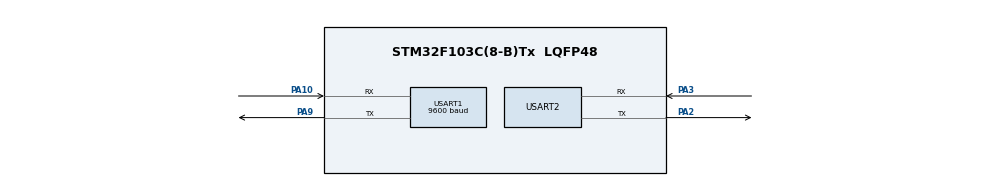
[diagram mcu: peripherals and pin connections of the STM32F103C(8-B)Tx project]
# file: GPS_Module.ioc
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Dma.Request0=USART1_RX
Dma.USART1_RX.0.Direction=DMA_PERIPH_TO_MEMORY
Dma.USART1_RX.0.Instance=DMA1_Channel5
Dma.USART1_RX.0.MemDataAlignment=DMA_MDATAALIGN_BYTE
Dma.USART1_RX.0.MemInc=DMA_MINC_ENABLE
Dma.USART1_RX.0.Mode=DMA_CIRCULAR
Dma.USART1_RX.0.PeriphDataAlignment=DMA_PDATAALIGN_BYTE
Dma.USART1_RX.0.PeriphInc=DMA_PINC_DISABLE
Dma.USART1_RX.0.Priority=DMA_PRIORITY_LOW
Mcu.Family=STM32F1
Mcu.Name=STM32F103C(8-B)Tx
Mcu.Package=LQFP48
NVIC.DMA1_Channel5_IRQn=true\:0\:0\:false\:false\:true\:false\:true\:true
NVIC.PriorityGroup=NVIC_PRIORITYGROUP_4
NVIC.USART1_IRQn=true\:0\:0\:false\:false\:true\:true\:true\:true
PA10.Mode=Asynchronous
PA10.Signal=USART1_RX
PA13.Mode=Serial_Wire
PA13.Signal=SYS_JTMS-SWDIO
PA14.Mode=Serial_Wire
PA14.Signal=SYS_JTCK-SWCLK
PA2.Mode=Asynchronous
PA2.Signal=USART2_TX
PA3.Mode=Asynchronous
PA3.Signal=USART2_RX
PA9.Mode=Asynchronous
PA9.Signal=USART1_TX
PD0-OSC_IN.Mode=HSE-External-Oscillator
PD0-OSC_IN.Signal=RCC_OSC_IN
PD1-OSC_OUT.Mode=HSE-External-Oscillator
PD1-OSC_OUT.Signal=RCC_OSC_OUT
ProjectManager.HeapSize=0x200
ProjectManager.StackSize=0x400
ProjectManager.TargetToolchain=STM32CubeIDE
RCC.APB1Freq_Value=8000000
RCC.APB2Freq_Value=8000000
USART1.BaudRate=9600
USART1.VirtualMode=VM_ASYNC
USART2.VirtualMode=VM_ASYNC
board=custom

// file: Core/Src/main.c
/* USER CODE BEGIN Header */
/**
  ******************************************************************************
  * @file           : main.c
  * @brief          : Main program body
  ******************************************************************************
  * @attention
  *
  * Copyright (c) 2026 STMicroelectronics.
  * All rights reserved.
  *
  * This software is licensed under terms that can be found in the LICENSE file
  * in the root directory of this software component.
  * If no LICENSE file comes with this software, it is provided AS-IS.
  *
  ******************************************************************************
  */
/* USER CODE END Header */
#include "main.h"

/* USER CODE BEGIN Includes */
#include "gps.h"
#include <stdio.h>
#include <string.h>
/* USER CODE END Includes */

UART_HandleTypeDef huart1;
UART_HandleTypeDef huart2;
DMA_HandleTypeDef hdma_usart1_rx;

void SystemClock_Config(void);
static void MX_GPIO_Init(void);
static void MX_DMA_Init(void);
static void MX_USART1_UART_Init(void);
static void MX_USART2_UART_Init(void);

/* USER CODE BEGIN 0 */
static void Debug_Print(const char *str)
{
    HAL_UART_Transmit(&huart2, (uint8_t *)str, strlen(str), 100);
}
/* USER CODE END 0 */

int main(void)
{

  /* MCU Configuration--------------------------------------------------------*/

  /* Reset of all peripherals, Initializes the Flash interface and the Systick. */
  HAL_Init();

  /* Configure the system clock */
  SystemClock_Config();

  /* Initialize all configured peripherals */
  MX_GPIO_Init();
  MX_DMA_Init();
  MX_USART1_UART_Init();
  MX_USART2_UART_Init();
  /* USER CODE BEGIN 2 */
  Debug_Print("System Boot\r\n");
  GPS_Init(&huart1);
  uint32_t tick = 0;
  /* USER CODE END 2 */

  /* Infinite loop */
  /* USER CODE BEGIN WHILE */
  while (1)
  {
    GPS_Process();

    if (HAL_GetTick() - tick >= 1000)
    {
        tick = HAL_GetTick();
        char buf[128];

        if (sys_gps_data.is_valid) {
            double lat = sys_gps_data.latitude;
            double lon = sys_gps_data.longitude;
            float  alt = sys_gps_data.altitude;

            char lat_sign = (lat < 0) ? '-' : ' ';
            char lon_sign = (lon < 0) ? '-' : ' ';
            if (lat < 0) lat = -lat;
            if (lon < 0) lon = -lon;

            int32_t lat_i = (int32_t)lat;
            int32_t lon_i = (int32_t)lon;
            int32_t lat_f = (int32_t)((lat - lat_i) * 1000000.0);
            int32_t lon_f = (int32_t)((lon - lon_i) * 1000000.0);

            int32_t alt_i = (int32_t)alt;
            int32_t alt_f = (int32_t)((alt - alt_i) * 10.0);
            if (alt_f < 0) alt_f = -alt_f;

            snprintf(buf, sizeof(buf),
                "FIX OK | Lat: %c%ld.%06ld Lon: %c%ld.%06ld Alt: %ld.%ldm Sats: %d\r\n",
                lat_sign, (long)lat_i, (long)lat_f,
                lon_sign, (long)lon_i, (long)lon_f,
                (long)alt_i, (long)alt_f,
                sys_gps_data.satellites);
        } else {
            snprintf(buf, sizeof(buf),
                "Dang do tin hieu GPS... Sats: %d\r\n", sys_gps_data.satellites);
        }
        Debug_Print(buf);
    }
    /* USER CODE END WHILE */

  }
}

void SystemClock_Config(void)
{
  RCC_OscInitTypeDef RCC_OscInitStruct = {0};
  RCC_ClkInitTypeDef RCC_ClkInitStruct = {0};

  /** Initializes the RCC Oscillators according to the specified parameters
  * in the RCC_OscInitTypeDef structure.
  */
  RCC_OscInitStruct.OscillatorType = RCC_OSCILLATORTYPE_HSI;
  RCC_OscInitStruct.HSIState = RCC_HSI_ON;
  RCC_OscInitStruct.HSICalibrationValue = RCC_HSICALIBRATION_DEFAULT;
  RCC_OscInitStruct.PLL.PLLState = RCC_PLL_NONE;
  if (HAL_RCC_OscConfig(&RCC_OscInitStruct) != HAL_OK)
  {
    Error_Handler();
  }

  /** Initializes the CPU, AHB and APB buses clocks
  */
  RCC_ClkInitStruct.ClockType = RCC_CLOCKTYPE_HCLK|RCC_CLOCKTYPE_SYSCLK
                              |RCC_CLOCKTYPE_PCLK1|RCC_CLOCKTYPE_PCLK2;
  RCC_ClkInitStruct.SYSCLKSource = RCC_SYSCLKSOURCE_HSI;
  RCC_ClkInitStruct.AHBCLKDivider = RCC_SYSCLK_DIV1;
  RCC_ClkInitStruct.APB1CLKDivider = RCC_HCLK_DIV1;
  RCC_ClkInitStruct.APB2CLKDivider = RCC_HCLK_DIV1;

  if (HAL_RCC_ClockConfig(&RCC_ClkInitStruct, FLASH_LATENCY_0) != HAL_OK)
  {
    Error_Handler();
  }
}

static void MX_USART1_UART_Init(void)
{

  huart1.Instance = USART1;
  huart1.Init.BaudRate = 9600;
  huart1.Init.WordLength = UART_WORDLENGTH_8B;
  huart1.Init.StopBits = UART_STOPBITS_1;
  huart1.Init.Parity = UART_PARITY_NONE;
  huart1.Init.Mode = UART_MODE_TX_RX;
  huart1.Init.HwFlowCtl = UART_HWCONTROL_NONE;
  huart1.Init.OverSampling = UART_OVERSAMPLING_16;
  if (HAL_UART_Init(&huart1) != HAL_OK)
  {
    Error_Handler();
  }

}

static void MX_USART2_UART_Init(void)
{

  huart2.Instance = USART2;
  huart2.Init.BaudRate = 115200;
  huart2.Init.WordLength = UART_WORDLENGTH_8B;
  huart2.Init.StopBits = UART_STOPBITS_1;
  huart2.Init.Parity = UART_PARITY_NONE;
  huart2.Init.Mode = UART_MODE_TX_RX;
  huart2.Init.HwFlowCtl = UART_HWCONTROL_NONE;
  huart2.Init.OverSampling = UART_OVERSAMPLING_16;
  if (HAL_UART_Init(&huart2) != HAL_OK)
  {
    Error_Handler();
  }

}

static void MX_DMA_Init(void)
{

  /* DMA controller clock enable */
  __HAL_RCC_DMA1_CLK_ENABLE();

  /* DMA interrupt init */
  /* DMA1_Channel5_IRQn interrupt configuration */
  HAL_NVIC_SetPriority(DMA1_Channel5_IRQn, 0, 0);
  HAL_NVIC_EnableIRQ(DMA1_Channel5_IRQn);

}

static void MX_GPIO_Init(void)
{

  /* GPIO Ports Clock Enable */
  __HAL_RCC_GPIOD_CLK_ENABLE();
  __HAL_RCC_GPIOA_CLK_ENABLE();

}

void Error_Handler(void)
{
  __disable_irq();
  while (1)
  {
  }
}
